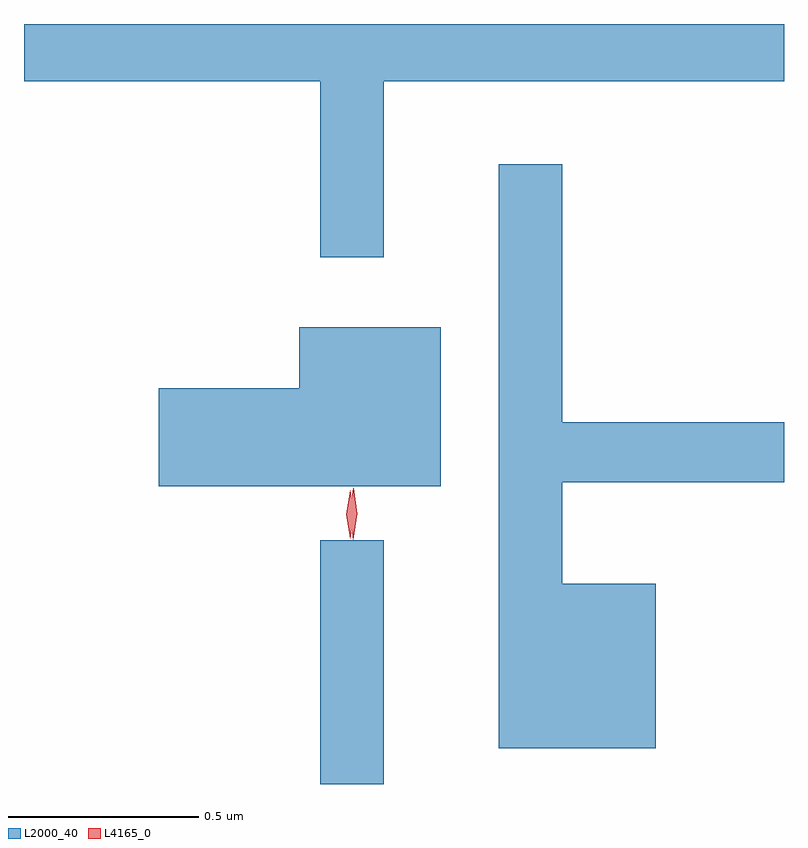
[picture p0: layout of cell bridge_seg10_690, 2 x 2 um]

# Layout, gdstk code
import gdstk
lib = gdstk.Library(unit=1e-6, precision=1e-09)
def R(c, l, rs):  # rectangles x0, y0, x1, y1
    for r in rs: c.add(gdstk.rectangle(r[:2], r[2:], *l))
def P(c, l, *ps):  # polygons
    for p in ps: c.add(gdstk.Polygon(p, *l))
L2000_40 = (2000, 40)
L4165_0 = (4165, 0)

bridge_seg10_690 = lib.new_cell('bridge_seg10_690')
R(bridge_seg10_690, L2000_40, [(859.891,2136.487,860.059,2137.128)])
P(bridge_seg10_690, L2000_40, [(860.059,2138.336),(861.112,2138.336),(861.112,2138.487),(859.112,2138.487),(859.112,2138.336),(859.891,2138.336),(859.891,2137.873),(860.059,2137.873)],
  [(860.774,2137.014),(860.529,2137.014),(860.529,2137.281),(861.112,2137.281),(861.112,2137.439),(860.529,2137.439),(860.529,2138.118),(860.361,2138.118),(860.361,2136.581),(860.774,2136.581)],
  [(860.209,2137.689),(859.836,2137.689),(859.836,2137.529),(859.466,2137.529),(859.466,2137.271),(860.209,2137.271)])
P(bridge_seg10_690, L4165_0, [(859.97,2137.133),(859.96,2137.196),(859.97,2137.26),(859.97,2137.26),(859.971,2137.26),(859.98,2137.196),(859.971,2137.133),(859.971,2137.133)],
  [(859.978,2137.13),(859.978,2137.13),(859.969,2137.198),(859.979,2137.265),(859.98,2137.266),(859.98,2137.265),(859.989,2137.198),(859.979,2137.13)])

lib.write_gds('bridge_seg10_690.gds')
